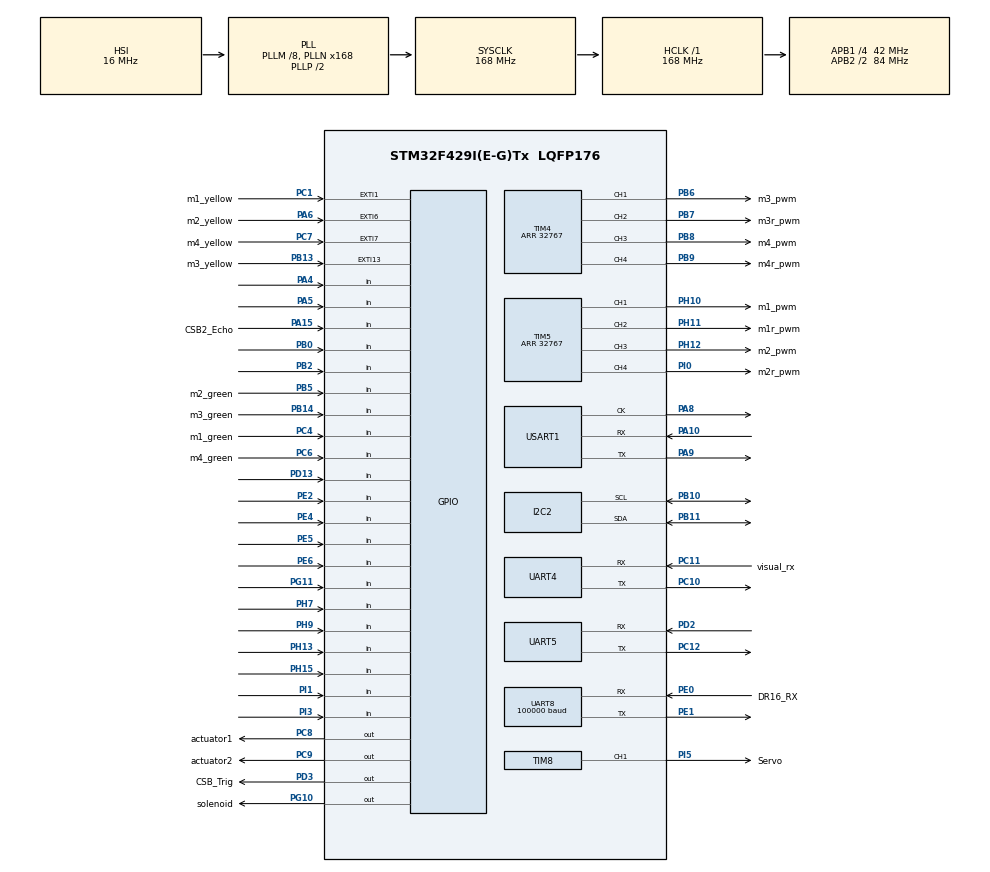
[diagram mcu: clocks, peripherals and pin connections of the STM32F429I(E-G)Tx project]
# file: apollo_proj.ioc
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Dma.Request0=UART8_RX
Dma.UART8_RX.0.Direction=DMA_PERIPH_TO_MEMORY
Dma.UART8_RX.0.FIFOMode=DMA_FIFOMODE_DISABLE
Dma.UART8_RX.0.Instance=DMA1_Stream6
Dma.UART8_RX.0.MemDataAlignment=DMA_MDATAALIGN_BYTE
Dma.UART8_RX.0.MemInc=DMA_MINC_ENABLE
Dma.UART8_RX.0.Mode=DMA_CIRCULAR
Dma.UART8_RX.0.PeriphDataAlignment=DMA_PDATAALIGN_BYTE
Dma.UART8_RX.0.PeriphInc=DMA_PINC_DISABLE
Dma.UART8_RX.0.Priority=DMA_PRIORITY_LOW
I2C2.I2C_Mode=I2C_Fast
Mcu.Family=STM32F4
Mcu.Name=STM32F429I(E-G)Tx
Mcu.Package=LQFP176
NVIC.DMA1_Stream6_IRQn=true\:0\:0\:false\:false\:true\:false\:true\:true
NVIC.EXTI15_10_IRQn=true\:0\:0\:false\:false\:true\:true\:true\:true
NVIC.EXTI1_IRQn=true\:0\:0\:false\:false\:true\:true\:true\:true
NVIC.EXTI9_5_IRQn=true\:0\:0\:false\:false\:true\:true\:true\:true
NVIC.PriorityGroup=NVIC_PRIORITYGROUP_4
NVIC.TIM3_IRQn=true\:0\:0\:false\:false\:true\:true\:true\:true
NVIC.UART8_IRQn=true\:0\:0\:false\:false\:true\:true\:true\:true
PA10.Mode=Synchronous
PA10.Signal=USART1_RX
PA13.Mode=Serial_Wire
PA13.Signal=SYS_JTMS-SWDIO
PA14.Mode=Serial_Wire
PA14.Signal=SYS_JTCK-SWCLK
PA15.GPIO_Label=CSB2_Echo
PA15.GPIO_PuPd=GPIO_PULLUP
PA15.Signal=GPIO_Input
PA4.Signal=GPIO_Input
PA5.Signal=GPIO_Input
PA6.GPIO_Label=m2_yellow
PA6.Signal=GPXTI6
PA8.Mode=Synchronous
PA8.Signal=USART1_CK
PA9.Mode=Synchronous
PA9.Signal=USART1_TX
PB0.Signal=GPIO_Input
PB10.Mode=I2C
PB10.Signal=I2C2_SCL
PB11.Mode=I2C
PB11.Signal=I2C2_SDA
PB13.GPIO_Label=m3_yellow
PB13.Signal=GPXTI13
PB14.GPIO_Label=m3_green
PB14.Signal=GPIO_Input
PB2/BOOT1.Signal=GPIO_Input
PB5.GPIO_Label=m2_green
PB5.Signal=GPIO_Input
PB6.GPIO_Label=m3_pwm
PB6.Signal=S_TIM4_CH1
PB7.GPIO_Label=m3r_pwm
PB7.Signal=S_TIM4_CH2
PB8.GPIO_Label=m4_pwm
PB8.Signal=S_TIM4_CH3
PB9.GPIO_Label=m4r_pwm
PB9.Signal=S_TIM4_CH4
PC1.GPIO_Label=m1_yellow
PC1.GPIO_ModeDefaultEXTI=GPIO_MODE_IT_RISING
PC1.GPIO_PuPd=GPIO_NOPULL
PC1.Signal=GPXTI1
PC10.Mode=Asynchronous
PC10.Signal=UART4_TX
PC11.GPIO_Label=visual_rx
PC11.Mode=Asynchronous
PC11.Signal=UART4_RX
PC12.Mode=Asynchronous
PC12.Signal=UART5_TX
PC14/OSC32_IN.Mode=LSE-External-Oscillator
PC14/OSC32_IN.Signal=RCC_OSC32_IN
PC15/OSC32_OUT.Mode=LSE-External-Oscillator
PC15/OSC32_OUT.Signal=RCC_OSC32_OUT
PC4.GPIO_Label=m1_green
PC4.Signal=GPIO_Input
PC6.GPIO_Label=m4_green
PC6.Signal=GPIO_Input
PC7.GPIO_Label=m4_yellow
PC7.Signal=GPXTI7
PC8.GPIO_Label=actuator1
PC8.PinState=GPIO_PIN_RESET
PC8.Signal=GPIO_Output
PC9.GPIO_Label=actuator2
PC9.Signal=GPIO_Output
PD13.Signal=GPIO_Input
PD2.Mode=Asynchronous
PD2.Signal=UART5_RX
PD3.GPIO_Label=CSB_Trig
PD3.GPIO_PuPd=GPIO_PULLUP
PD3.GPIO_Speed=GPIO_SPEED_FREQ_HIGH
PD3.Signal=GPIO_Output
PE0.GPIO_Label=DR16_RX
PE0.Mode=Asynchronous
PE0.Signal=UART8_RX
PE1.Mode=Asynchronous
PE1.Signal=UART8_TX
PE2.Signal=GPIO_Input
PE4.Signal=GPIO_Input
PE5.Signal=GPIO_Input
PE6.Signal=GPIO_Input
PG10.GPIO_Label=solenoid
PG10.GPIO_PuPd=GPIO_PULLUP
PG10.GPIO_Speed=GPIO_SPEED_FREQ_HIGH
PG10.Signal=GPIO_Output
PG11.Signal=GPIO_Input
PH0/OSC_IN.Mode=HSE-External-Oscillator
PH0/OSC_IN.Signal=RCC_OSC_IN
PH1/OSC_OUT.Mode=HSE-External-Oscillator
PH1/OSC_OUT.Signal=RCC_OSC_OUT
PH10.GPIO_Label=m1_pwm
PH10.Signal=S_TIM5_CH1
PH11.GPIO_Label=m1r_pwm
PH11.Signal=S_TIM5_CH2
PH12.GPIO_Label=m2_pwm
PH12.Signal=S_TIM5_CH3
PH13.Signal=GPIO_Input
PH15.Signal=GPIO_Input
PH7.Signal=GPIO_Input
PH9.Signal=GPIO_Input
PI0.GPIO_Label=m2r_pwm
PI0.Signal=S_TIM5_CH4
PI1.Signal=GPIO_Input
PI3.Signal=GPIO_Input
PI5.GPIO_Label=Servo
PI5.GPIO_Speed=GPIO_SPEED_FREQ_MEDIUM
PI5.Signal=S_TIM8_CH1
ProjectManager.HeapSize=0x200
ProjectManager.StackSize=0x400
ProjectManager.TargetToolchain=Makefile
RCC.48MHZClocksFreq_Value=84000000
RCC.AHBFreq_Value=168000000
RCC.APB1CLKDivider=RCC_HCLK_DIV4
RCC.APB1Freq_Value=42000000
RCC.APB1TimFreq_Value=84000000
RCC.APB2CLKDivider=RCC_HCLK_DIV2
RCC.APB2Freq_Value=84000000
RCC.APB2TimFreq_Value=168000000
RCC.CortexFreq_Value=168000000
RCC.HCLKFreq_Value=168000000
RCC.HSE_VALUE=25000000
RCC.HSI_VALUE=16000000
RCC.PLLM=8
RCC.PLLN=168
RCC.SYSCLKFreq_VALUE=168000000
RCC.SYSCLKSource=RCC_SYSCLKSOURCE_PLLCLK
RCC.VCOOutputFreq_Value=336000000
SH.S_TIM4_CH1.0=TIM4_CH1,PWM Generation1 CH1
SH.S_TIM4_CH2.0=TIM4_CH2,PWM Generation2 CH2
SH.S_TIM4_CH3.0=TIM4_CH3,PWM Generation3 CH3
SH.S_TIM4_CH4.0=TIM4_CH4,PWM Generation4 CH4
SH.S_TIM5_CH1.0=TIM5_CH1,PWM Generation1 CH1
SH.S_TIM5_CH2.0=TIM5_CH2,PWM Generation2 CH2
SH.S_TIM5_CH3.0=TIM5_CH3,PWM Generation3 CH3
SH.S_TIM5_CH4.0=TIM5_CH4,PWM Generation4 CH4
SH.S_TIM8_CH1.0=TIM8_CH1,PWM Generation1 CH1
TIM1.Prescaler=168-1
TIM3.AutoReloadPreload=TIM_AUTORELOAD_PRELOAD_ENABLE
TIM3.Period=9999
TIM3.Prescaler=419
TIM4.AutoReloadPreload=TIM_AUTORELOAD_PRELOAD_ENABLE
TIM4.Channel-PWM\ Generation1\ CH1=TIM_CHANNEL_1
TIM4.Channel-PWM\ Generation2\ CH2=TIM_CHANNEL_2
TIM4.Channel-PWM\ Generation3\ CH3=TIM_CHANNEL_3
TIM4.Channel-PWM\ Generation4\ CH4=TIM_CHANNEL_4
TIM4.Period=32767
TIM5.AutoReloadPreload=TIM_AUTORELOAD_PRELOAD_ENABLE
TIM5.Channel-PWM\ Generation1\ CH1=TIM_CHANNEL_1
TIM5.Channel-PWM\ Generation2\ CH2=TIM_CHANNEL_2
TIM5.Channel-PWM\ Generation3\ CH3=TIM_CHANNEL_3
TIM5.Channel-PWM\ Generation4\ CH4=TIM_CHANNEL_4
TIM5.Period=32767
TIM8.AutoReloadPreload=TIM_AUTORELOAD_PRELOAD_ENABLE
TIM8.Channel-PWM\ Generation1\ CH1=TIM_CHANNEL_1
TIM8.ClockDivision=TIM_CLOCKDIVISION_DIV1
TIM8.OCFastMode_PWM-PWM\ Generation1\ CH1=TIM_OCFAST_DISABLE
TIM8.Period=10000-1
TIM8.Prescaler=335
UART4.VirtualMode=Asynchronous
UART5.VirtualMode=Asynchronous
UART8.BaudRate=100000
UART8.Mode=MODE_RX
UART8.Parity=PARITY_EVEN
UART8.VirtualMode=Asynchronous
UART8.WordLength=WORDLENGTH_9B
USART1.VirtualMode=VM_SYNC
VP_TIM1_VS_ClockSourceINT.Mode=Internal
VP_TIM3_VS_ClockSourceINT.Mode=Internal
VP_TIM4_VS_ClockSourceINT.Mode=Internal
VP_TIM5_VS_ClockSourceINT.Mode=Internal
VP_TIM8_VS_ClockSourceINT.Mode=Internal
board=custom

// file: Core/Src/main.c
/* USER CODE BEGIN Header */
/**
  ******************************************************************************
  * @file           : main.c
  * @brief          : Main program body
  ******************************************************************************
  * @attention
  *
  * Copyright (c) 2022 STMicroelectronics.
  * All rights reserved.
  *
  * This software is licensed under terms that can be found in the LICENSE file
  * in the root directory of this software component.
  * If no LICENSE file comes with this software, it is provided AS-IS.
  *
  ******************************************************************************
  */
/* USER CODE END Header */
#include "main.h"
#include "dma.h"
#include "i2c.h"
#include "tim.h"
#include "usart.h"
#include "gpio.h"

/* USER CODE BEGIN Includes */
#include "printf.h"
#include "motor.hpp"
#include "Chassis.hpp"
#include "Steer.hpp"
#include "search.hpp"
#include "gyro.hpp"
/* USER CODE END Includes */

/* USER CODE BEGIN PTD */
int myAtoi(char* str)
{
    // Initialize result
    int res = 0;

    for (int i = 0; str[i] <= '9' && str[i] >= '0'; ++i)
        res = res * 10 + str[i] - '0';

    // return result.
    return res;
}
/* USER CODE END PTD */

/* USER CODE BEGIN PD */

Class_Chassis car;
Class_Steer   claw;

/* USER CODE END PD */

void SystemClock_Config(void);

int main(void)
{

  /* MCU Configuration--------------------------------------------------------*/

  /* Reset of all peripherals, Initializes the Flash interface and the Systick. */
  HAL_Init();

  /* Configure the system clock */
  SystemClock_Config();

  /* Initialize all configured peripherals */
  MX_GPIO_Init();
  MX_DMA_Init();
  MX_TIM3_Init();
  MX_TIM4_Init();
  MX_USART1_Init();
  MX_TIM5_Init();
  MX_UART8_Init();
  MX_TIM8_Init();
  MX_UART4_Init();
  MX_UART5_Init();
  MX_TIM1_Init();
  MX_I2C2_Init();
  /* USER CODE BEGIN 2 */
  car.Init();
  car.Set_Control_Method(Control_Method_OMEGA);
  car.Set_DR16(false);

  claw.Init(&htim8, TIM_CHANNEL_1);

  HAL_TIM_Base_Start_IT(&htim3);
  // gyro_init();

  actuator_up();
  // HAL_Delay(ACTUATOR_HAL_DELAY);
  // actuator_stop();
  /* USER CODE END 2 */

  /* Infinite loop */
  /* USER CODE BEGIN WHILE */

  SpeedTypeDef vel;
  vel.Omega = 0; vel.X = 0; vel.Y = 0;

/*
  // 检查巡线模块
  while (1) {
    if (RR1_IN == 0) {
      vel.X = 0.3;
    } else {
      vel.X = 0;
    }
    car.Set_Velocity(vel);
  }
*/

// /* // 调整 nudges
#ifdef ADJUST
  claw.open();
  actuator_down();
  HAL_Delay(ACTUATOR_HAL_DELAY);
  actuator_stop();
  claw.close();
  actuator_up();
  HAL_Delay(ACTUATOR_HAL_DELAY);
  actuator_stop();
  HAL_Delay(1000);
  if (0) Nudge1();
  else   Nudge2();
  actuator_down();
  HAL_Delay(ACTUATOR_HAL_DELAY);
  actuator_stop();
  claw.open();
  actuator_up();
  HAL_Delay(ACTUATOR_HAL_DELAY);
  actuator_stop();
  HAL_Delay(500);
  HAL_GPIO_WritePin(solenoid_GPIO_Port, solenoid_Pin, GPIO_PIN_SET);
  HAL_Delay(700);
  HAL_GPIO_WritePin(solenoid_GPIO_Port, solenoid_Pin, GPIO_PIN_RESET);
  while (1);
#endif

  // 正式比赛流程
  Stage1();
  Stage2();
  Stage3();
  Stage4();
  while (1);
  // */

  while (1)
  {
    if (0) {
      vel.Omega = 3.0f; vel.X = 0; vel.Y = 0;
      car.Set_Velocity(vel); HAL_Delay(1200);
      vel.Omega = 0; vel.X = 0; vel.Y = 0;
      car.Set_Velocity(vel); HAL_Delay(1000);
      vel.Omega = 0.0f; vel.X = 2; vel.Y = 0;
      car.Set_Velocity(vel); HAL_Delay(1200);
      vel.Omega = 0; vel.X = 0; vel.Y = 0;
      car.Set_Velocity(vel); HAL_Delay(1000);
      vel.Omega = 0.0f; vel.X = 0; vel.Y = 0.5;
      car.Set_Velocity(vel); HAL_Delay(1200);
      vel.Omega = 0; vel.X = 0; vel.Y = 0;
      car.Set_Velocity(vel); HAL_Delay(1000);
    } else if (0) {
      for (int i = 0; i < 4; i++) {
        for (int j = 0; j < 4; j++) {
          if (i == j)
            car.Motor[j].Set_Omega_Target(5);
          else
            car.Motor[j].Set_Omega_Target(0);
          car.Motor[j].Output();
        }
        HAL_Delay(4000);
      }
    }
    /* USER CODE END WHILE */

  }
}

void SystemClock_Config(void)
{
  RCC_OscInitTypeDef RCC_OscInitStruct = {0};
  RCC_ClkInitTypeDef RCC_ClkInitStruct = {0};

  /** Configure the main internal regulator output voltage
  */
  __HAL_RCC_PWR_CLK_ENABLE();
  __HAL_PWR_VOLTAGESCALING_CONFIG(PWR_REGULATOR_VOLTAGE_SCALE1);

  /** Initializes the RCC Oscillators according to the specified parameters
  * in the RCC_OscInitTypeDef structure.
  */
  RCC_OscInitStruct.OscillatorType = RCC_OSCILLATORTYPE_HSI;
  RCC_OscInitStruct.HSIState = RCC_HSI_ON;
  RCC_OscInitStruct.HSICalibrationValue = RCC_HSICALIBRATION_DEFAULT;
  RCC_OscInitStruct.PLL.PLLState = RCC_PLL_ON;
  RCC_OscInitStruct.PLL.PLLSource = RCC_PLLSOURCE_HSI;
  RCC_OscInitStruct.PLL.PLLM = 8;
  RCC_OscInitStruct.PLL.PLLN = 168;
  RCC_OscInitStruct.PLL.PLLP = RCC_PLLP_DIV2;
  RCC_OscInitStruct.PLL.PLLQ = 4;
  if (HAL_RCC_OscConfig(&RCC_OscInitStruct) != HAL_OK)
  {
    Error_Handler();
  }

  /** Initializes the CPU, AHB and APB buses clocks
  */
  RCC_ClkInitStruct.ClockType = RCC_CLOCKTYPE_HCLK|RCC_CLOCKTYPE_SYSCLK
                              |RCC_CLOCKTYPE_PCLK1|RCC_CLOCKTYPE_PCLK2;
  RCC_ClkInitStruct.SYSCLKSource = RCC_SYSCLKSOURCE_PLLCLK;
  RCC_ClkInitStruct.AHBCLKDivider = RCC_SYSCLK_DIV1;
  RCC_ClkInitStruct.APB1CLKDivider = RCC_HCLK_DIV4;
  RCC_ClkInitStruct.APB2CLKDivider = RCC_HCLK_DIV2;

  if (HAL_RCC_ClockConfig(&RCC_ClkInitStruct, FLASH_LATENCY_5) != HAL_OK)
  {
    Error_Handler();
  }
}

/* USER CODE BEGIN 4 */

void HAL_GPIO_EXTI_Callback(uint16_t GPIO_Pin) {
  switch (GPIO_Pin) {
    default:
      car.Hall_Encoder_GPIO_EXTI_Callback(GPIO_Pin);  // forward
  }
}

void HAL_TIM_PeriodElapsedCallback(TIM_HandleTypeDef *htim) {
  // htim3 is used to trigger PID recalculation
  if (htim == &htim3) {
    car.Calculate_TIM_PeriodElapsedCallback();
    // gyro_callback();
  }
}

void HAL_UART_RxCpltCallback(UART_HandleTypeDef *huart)
{
  if(huart == &huart8)
  {
    car.DR16.Alive_UART_RxCpltCallback();
  }
}

/* USER CODE END 4 */

void Error_Handler(void)
{
  __disable_irq();
  while (1)
  {
  }
}
